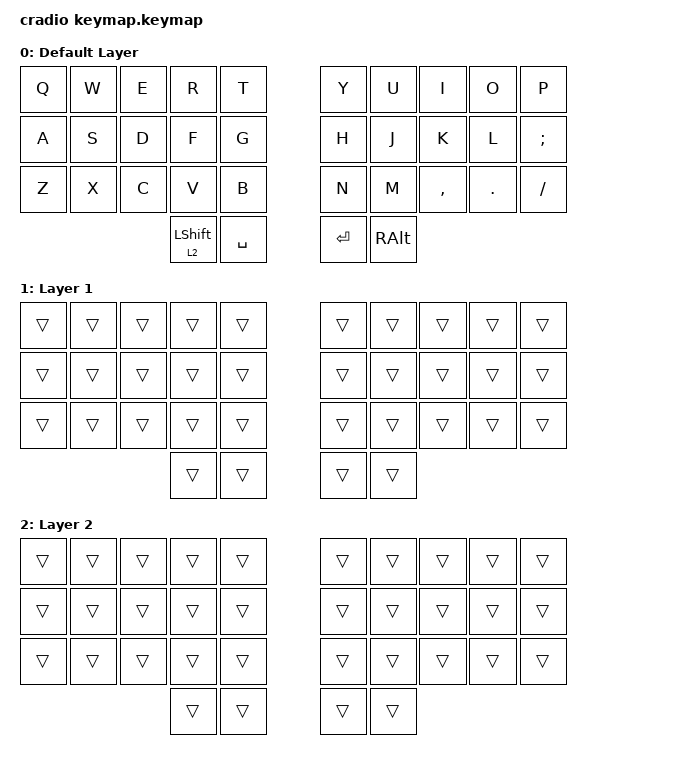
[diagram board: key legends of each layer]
/*
 * Copyright (c) 2020 The ZMK Contributors
 *
 * SPDX-License-Identifier: MIT
 */

#include <behaviors.dtsi>
#include <dt-bindings/zmk/keys.h>
#include <dt-bindings/zmk/bt.h>

/ {
    behaviors {
        sk_mo: sticky_key_layer_tap {
            compatible = "zmk,behavior-hold-tap";
            #binding-cells = <2>;
            flavor = "balanced";
            tapping-term-ms = <200>;
            bindings = <&mo>, <&sk>;
        };
    };

    keymap {
        compatible = "zmk,keymap";

        default_layer {
            display-name = "Default Layer";
            bindings = <
        //╭──────────┬──────────┬──────────┬──────────┬──────────╮   ╭──────────┬──────────┬──────────┬──────────┬──────────╮
        //│  Q       │  W       │  E       │  R       │  T       │   │  Y       │  U       │  I       │  O       │  P       │
            &kp Q      &kp W      &kp E      &kp R      &kp T          &kp Y      &kp U      &kp I      &kp O      &kp P
        //├──────────┼──────────┼──────────┼──────────┼──────────┤   ├──────────┼──────────┼──────────┼──────────┼──────────┤
        //│  A       │  S       │  D       │  F       │  G       │   │  H       │  J       │  K       │  L       │  ;       │
            &kp A      &kp S      &kp D      &kp F      &kp G          &kp H      &kp J      &kp K      &kp L      &kp SEMI
        //├──────────┼──────────┼──────────┼──────────┼──────────┤   ├──────────┼──────────┼──────────┼──────────┼──────────┤
        //│  Z       │  X       │  C       │  V       │  B       │   │  N       │  M       │  ,       │  .       │  /       │
            &kp Z      &kp X      &kp C      &kp V      &kp B          &kp N      &kp M      &kp COMMA  &kp DOT    &kp FSLH
        //╰──────────┴──────────┴──────────┴──────────┼──────────┤   ├──────────┼──────────┴──────────┴──────────┴──────────╯
        //                                 │ SK_SHIFT │  SPACE   │   │  ENTER   │  RALT    │
                                          &sk_mo 2 LSHFT &kp SPACE    &kp RET    &kp RALT
        //                                 ╰──────────┴──────────╯   ╰──────────┴──────────╯
            >;
        };

        layer_1 {
            display-name = "Layer 1";
            bindings = <
            &trans     &trans     &trans     &trans     &trans         &trans     &trans     &trans     &trans     &trans
            &trans     &trans     &trans     &trans     &trans         &trans     &trans     &trans     &trans     &trans
            &trans     &trans     &trans     &trans     &trans         &trans     &trans     &trans     &trans     &trans
                                             &trans     &trans         &trans     &trans
            >;
        };

        layer_2 {
            display-name = "Layer 2";
            bindings = <
            &trans     &trans     &trans     &trans     &trans         &trans     &trans     &trans     &trans     &trans
            &trans     &trans     &trans     &trans     &trans         &trans     &trans     &trans     &trans     &trans
            &trans     &trans     &trans     &trans     &trans         &trans     &trans     &trans     &trans     &trans
                                             &trans     &trans         &trans     &trans
            >;
        };
    };
};
